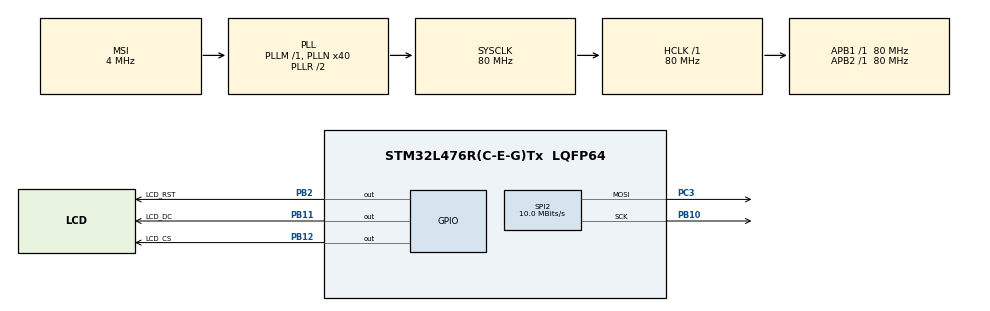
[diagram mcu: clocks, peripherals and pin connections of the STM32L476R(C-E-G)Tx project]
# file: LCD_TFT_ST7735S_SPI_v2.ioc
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Dma.Request0=SPI2_TX
Dma.SPI2_TX.0.Direction=DMA_MEMORY_TO_PERIPH
Dma.SPI2_TX.0.Instance=DMA1_Channel5
Dma.SPI2_TX.0.MemDataAlignment=DMA_MDATAALIGN_BYTE
Dma.SPI2_TX.0.MemInc=DMA_MINC_ENABLE
Dma.SPI2_TX.0.Mode=DMA_NORMAL
Dma.SPI2_TX.0.PeriphDataAlignment=DMA_PDATAALIGN_BYTE
Dma.SPI2_TX.0.PeriphInc=DMA_PINC_DISABLE
Dma.SPI2_TX.0.Priority=DMA_PRIORITY_LOW
Mcu.Family=STM32L4
Mcu.Name=STM32L476R(C-E-G)Tx
Mcu.Package=LQFP64
NVIC.DMA1_Channel5_IRQn=true\:0\:0\:false\:false\:true\:false\:true\:true
NVIC.PriorityGroup=NVIC_PRIORITYGROUP_4
PB10.Mode=TX_Only_Simplex_Unidirect_Master
PB10.Signal=SPI2_SCK
PB11.GPIO_Label=LCD_DC
PB11.Signal=GPIO_Output
PB12.GPIO_Label=LCD_CS
PB12.Signal=GPIO_Output
PB2.GPIO_Label=LCD_RST
PB2.Signal=GPIO_Output
PC3.Mode=TX_Only_Simplex_Unidirect_Master
PC3.Signal=SPI2_MOSI
ProjectManager.HeapSize=0x200
ProjectManager.StackSize=0x400
ProjectManager.TargetToolchain=STM32CubeIDE
RCC.AHBFreq_Value=80000000
RCC.APB1Freq_Value=80000000
RCC.APB1TimFreq_Value=80000000
RCC.APB2Freq_Value=80000000
RCC.APB2TimFreq_Value=80000000
RCC.CortexFreq_Value=80000000
RCC.HCLKFreq_Value=80000000
RCC.HSE_VALUE=8000000
RCC.HSI_VALUE=16000000
RCC.LSE_VALUE=32768
RCC.MSI_VALUE=4000000
RCC.PLLN=40
RCC.SYSCLKFreq_VALUE=80000000
RCC.SYSCLKSource=RCC_SYSCLKSOURCE_PLLCLK
RCC.VCOOutputFreq_Value=160000000
SPI2.BaudRatePrescaler=SPI_BAUDRATEPRESCALER_8
SPI2.CalculateBaudRate=10.0 MBits/s
SPI2.DataSize=SPI_DATASIZE_8BIT
SPI2.Direction=SPI_DIRECTION_2LINES
SPI2.Mode=SPI_MODE_MASTER
SPI2.VirtualType=VM_MASTER
board=custom

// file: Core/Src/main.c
/* USER CODE BEGIN Header */
/**
  ******************************************************************************
  * @file           : main.c
  * @brief          : Main program body
  ******************************************************************************
  * @attention
  *
  * Copyright (c) 2024 STMicroelectronics.
  * All rights reserved.
  *
  * This software is licensed under terms that can be found in the LICENSE file
  * in the root directory of this software component.
  * If no LICENSE file comes with this software, it is provided AS-IS.
  *
  ******************************************************************************
  */
/* USER CODE END Header */
#include "main.h"
#include "dma.h"
#include "spi.h"
#include "gpio.h"

/* USER CODE BEGIN Includes */
#include "lcd.h"
#include "image.c" //separate file for better clarity
/* USER CODE END Includes */

void SystemClock_Config(void);
/* USER CODE BEGIN PFP */
//This tells us that communication is done and we can deselect SPI device
void HAL_SPI_TxCpltCallback(SPI_HandleTypeDef *hspi)
{
	if (hspi == &hspi2)
	{
		lcd_transfer_done();
	}
}
/* USER CODE END PFP */

int main(void)
{

  /* MCU Configuration--------------------------------------------------------*/

  /* Reset of all peripherals, Initializes the Flash interface and the Systick. */
  HAL_Init();

  /* Configure the system clock */
  SystemClock_Config();

  /* Initialize all configured peripherals */
  MX_GPIO_Init();
  MX_DMA_Init();
  MX_SPI2_Init();
  /* USER CODE BEGIN 2 */
  lcd_init();
  lcd_clear();
  HAL_Delay(1000);

  //The below produces a rainbow-like screen and then draws a Linux logo
  //in top-left corner
  lcd_fill_box(0, 0, 160, 16, RED);
  lcd_fill_box(0, 16, 160, 16, GREEN);
  lcd_fill_box(0, 32, 160, 16, BLUE);
  lcd_fill_box(0, 48, 160, 16, YELLOW);
  lcd_fill_box(0, 64, 160, 16, MAGENTA);
  lcd_fill_box(0, 80, 160, 16, CYAN);
  lcd_fill_box(0, 96, 160, 16, WHITE);
  lcd_fill_box(0, 112, 160, 16, BLACK);

  //Also make sure that the provided resolution is equal to your image resolution
  lcd_draw_image(0, 0, 84, 100, image_data);
  HAL_Delay(1000);

  //New part - generating image
  //The below should generate a fancy blue wave
  lcd_clear();
  HAL_Delay(1000);
  for (int y = 0; y < HEIGHT; y++)
  {
    for (int x = 0; x < WIDTH; x++)
    {
      lcd_put_pixel(x, y, (x / 10 + y * 16)); //Right now colors are achieved by math
      	  	  	  	  	  	  	  	  	  	  //You can put anything there,
      	  	  	  	  	  	  	  	  	  	  //provided that it's a 16 bit color
    }
  }
  lcd_copy(); //Make sure to run it after filling buffer

  /* USER CODE END 2 */

  /* Infinite loop */
  /* USER CODE BEGIN WHILE */
  while (1)
  {
	  //currently the loop does nothing but it's a good place to experiment
	  //with animating stuff etc.
    /* USER CODE END WHILE */

  }
}

void SystemClock_Config(void)
{
  RCC_OscInitTypeDef RCC_OscInitStruct = {0};
  RCC_ClkInitTypeDef RCC_ClkInitStruct = {0};

  /** Configure the main internal regulator output voltage
  */
  if (HAL_PWREx_ControlVoltageScaling(PWR_REGULATOR_VOLTAGE_SCALE1) != HAL_OK)
  {
    Error_Handler();
  }

  /** Initializes the RCC Oscillators according to the specified parameters
  * in the RCC_OscInitTypeDef structure.
  */
  RCC_OscInitStruct.OscillatorType = RCC_OSCILLATORTYPE_MSI;
  RCC_OscInitStruct.MSIState = RCC_MSI_ON;
  RCC_OscInitStruct.MSICalibrationValue = 0;
  RCC_OscInitStruct.MSIClockRange = RCC_MSIRANGE_6;
  RCC_OscInitStruct.PLL.PLLState = RCC_PLL_ON;
  RCC_OscInitStruct.PLL.PLLSource = RCC_PLLSOURCE_MSI;
  RCC_OscInitStruct.PLL.PLLM = 1;
  RCC_OscInitStruct.PLL.PLLN = 40;
  RCC_OscInitStruct.PLL.PLLP = RCC_PLLP_DIV7;
  RCC_OscInitStruct.PLL.PLLQ = RCC_PLLQ_DIV2;
  RCC_OscInitStruct.PLL.PLLR = RCC_PLLR_DIV2;
  if (HAL_RCC_OscConfig(&RCC_OscInitStruct) != HAL_OK)
  {
    Error_Handler();
  }

  /** Initializes the CPU, AHB and APB buses clocks
  */
  RCC_ClkInitStruct.ClockType = RCC_CLOCKTYPE_HCLK|RCC_CLOCKTYPE_SYSCLK
                              |RCC_CLOCKTYPE_PCLK1|RCC_CLOCKTYPE_PCLK2;
  RCC_ClkInitStruct.SYSCLKSource = RCC_SYSCLKSOURCE_PLLCLK;
  RCC_ClkInitStruct.AHBCLKDivider = RCC_SYSCLK_DIV1;
  RCC_ClkInitStruct.APB1CLKDivider = RCC_HCLK_DIV1;
  RCC_ClkInitStruct.APB2CLKDivider = RCC_HCLK_DIV1;

  if (HAL_RCC_ClockConfig(&RCC_ClkInitStruct, FLASH_LATENCY_4) != HAL_OK)
  {
    Error_Handler();
  }
}

void Error_Handler(void)
{
  __disable_irq();
  while (1)
  {
  }
}
